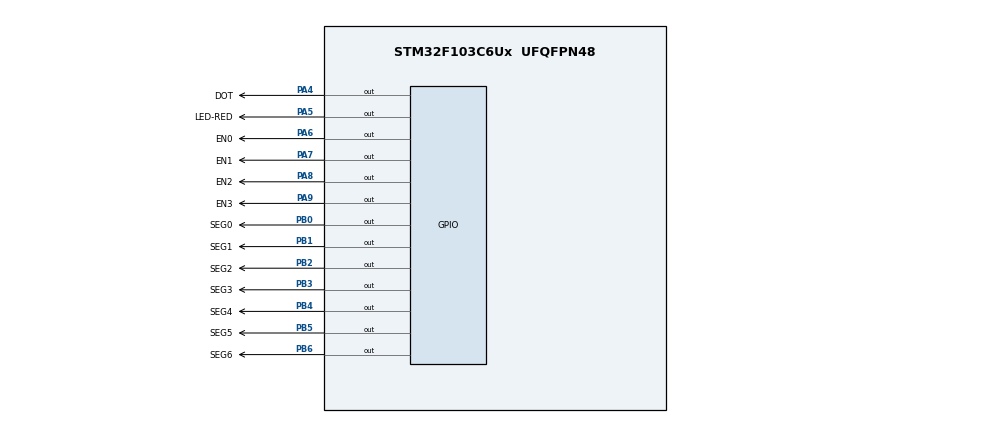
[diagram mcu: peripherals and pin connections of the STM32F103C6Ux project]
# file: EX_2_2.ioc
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Mcu.Family=STM32F1
Mcu.Name=STM32F103C6Ux
Mcu.Package=UFQFPN48
NVIC.PriorityGroup=NVIC_PRIORITYGROUP_4
NVIC.TIM2_IRQn=true\:0\:0\:false\:false\:true\:true\:true
PA4.GPIO_Label=DOT
PA4.Signal=GPIO_Output
PA5.GPIO_Label=LED-RED
PA5.Signal=GPIO_Output
PA6.GPIO_Label=EN0
PA6.Signal=GPIO_Output
PA7.GPIO_Label=EN1
PA7.Signal=GPIO_Output
PA8.GPIO_Label=EN2
PA8.Signal=GPIO_Output
PA9.GPIO_Label=EN3
PA9.Signal=GPIO_Output
PB0.GPIO_Label=SEG0
PB0.Signal=GPIO_Output
PB1.GPIO_Label=SEG1
PB1.Signal=GPIO_Output
PB2.GPIO_Label=SEG2
PB2.Signal=GPIO_Output
PB3.GPIO_Label=SEG3
PB3.Signal=GPIO_Output
PB4.GPIO_Label=SEG4
PB4.Signal=GPIO_Output
PB5.GPIO_Label=SEG5
PB5.Signal=GPIO_Output
PB6.GPIO_Label=SEG6
PB6.Signal=GPIO_Output
ProjectManager.HeapSize=0x200
ProjectManager.StackSize=0x400
ProjectManager.TargetToolchain=STM32CubeIDE
RCC.APB1Freq_Value=8000000
RCC.APB2Freq_Value=8000000
TIM2.Period=9
TIM2.Prescaler=7999
VP_SYS_VS_ND.Mode=No_Debug
VP_TIM2_VS_ClockSourceINT.Mode=Internal
board=custom

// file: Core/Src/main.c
/* USER CODE BEGIN Header */
/**
  ******************************************************************************
  * @file           : main.c
  * @brief          : Main program body
  ******************************************************************************
  * @attention
  *
  * <h2><center>&copy; Copyright (c) 2026 STMicroelectronics.
  * All rights reserved.</center></h2>
  *
  * This software component is licensed by ST under BSD 3-Clause license,
  * the "License"; You may not use this file except in compliance with the
  * License. You may obtain a copy of the License at:
  *                        opensource.org/licenses/BSD-3-Clause
  *
  ******************************************************************************
  */
/* USER CODE END Header */
#include "main.h"

/* USER CODE BEGIN PD */
#define SWITCH_TIME  50   /* 50 x 10ms = 500ms per digit                 */
#define DOT_TIME     100  /* 100 x 10ms = 1s -> DOT (and LED_RED) toggle */
/* USER CODE END PD */

TIM_HandleTypeDef htim2;

/* USER CODE BEGIN PV */
const int MAX_LED = 4;
int index_led = 0;
int led_buffer[4] = {1, 2, 3, 4};   /* change these values to unit-test update7SEG */

int seg_counter = SWITCH_TIME;
int dot_counter = DOT_TIME;
/* USER CODE END PV */

void SystemClock_Config(void);
static void MX_GPIO_Init(void);
static void MX_TIM2_Init(void);

/* USER CODE BEGIN 0 */
/* Common-anode 7-segment: a segment is ON when its pin is LOW.
   SEG0..SEG6 = a..g. Bit i of the table = segment i (1 = ON).            */
void display7SEG(int num)
{
  static const uint8_t SEG_TABLE[10] = {
    0x3F, /* 0 */ 0x06, /* 1 */ 0x5B, /* 2 */ 0x4F, /* 3 */ 0x66, /* 4 */
    0x6D, /* 5 */ 0x7D, /* 6 */ 0x07, /* 7 */ 0x7F, /* 8 */ 0x6F  /* 9 */
  };
  GPIO_TypeDef* const port[7] = {SEG0_GPIO_Port, SEG1_GPIO_Port, SEG2_GPIO_Port,
                                 SEG3_GPIO_Port, SEG4_GPIO_Port, SEG5_GPIO_Port,
                                 SEG6_GPIO_Port};
  const uint16_t pin[7] = {SEG0_Pin, SEG1_Pin, SEG2_Pin, SEG3_Pin,
                           SEG4_Pin, SEG5_Pin, SEG6_Pin};

  uint8_t code = (num >= 0 && num <= 9) ? SEG_TABLE[num] : 0x00; /* invalid -> blank */
  for (int i = 0; i < 7; i++)
  {
    HAL_GPIO_WritePin(port[i], pin[i], ((code >> i) & 1) ? GPIO_PIN_RESET : GPIO_PIN_SET);
  }
}

/* Exercise 3: show led_buffer[index] on 7-segment number 'index'.
   PNP transistors: a digit is ON when its EN pin is LOW.              */
void update7SEG(int index)
{
  /* All digits OFF first so the new number doesn't ghost on the old digit */
  HAL_GPIO_WritePin(EN0_GPIO_Port, EN0_Pin, GPIO_PIN_SET);
  HAL_GPIO_WritePin(EN1_GPIO_Port, EN1_Pin, GPIO_PIN_SET);
  HAL_GPIO_WritePin(EN2_GPIO_Port, EN2_Pin, GPIO_PIN_SET);
  HAL_GPIO_WritePin(EN3_GPIO_Port, EN3_Pin, GPIO_PIN_SET);

  switch (index)
  {
    case 0:
      /* Display the first 7SEG with led_buffer[0] */
      display7SEG(led_buffer[0]);
      HAL_GPIO_WritePin(EN0_GPIO_Port, EN0_Pin, GPIO_PIN_RESET);
      break;
    case 1:
      /* Display the second 7SEG with led_buffer[1] */
      display7SEG(led_buffer[1]);
      HAL_GPIO_WritePin(EN1_GPIO_Port, EN1_Pin, GPIO_PIN_RESET);
      break;
    case 2:
      /* Display the third 7SEG with led_buffer[2] */
      display7SEG(led_buffer[2]);
      HAL_GPIO_WritePin(EN2_GPIO_Port, EN2_Pin, GPIO_PIN_RESET);
      break;
    case 3:
      /* Display the fourth 7SEG with led_buffer[3] */
      display7SEG(led_buffer[3]);
      HAL_GPIO_WritePin(EN3_GPIO_Port, EN3_Pin, GPIO_PIN_RESET);
      break;
    default:
      break;
  }
}
/* USER CODE END 0 */

int main(void)
{

  /* MCU Configuration--------------------------------------------------------*/

  /* Reset of all peripherals, Initializes the Flash interface and the Systick. */
  HAL_Init();

  /* Configure the system clock */
  SystemClock_Config();

  /* Initialize all configured peripherals */
  MX_GPIO_Init();
  MX_TIM2_Init();
  /* USER CODE BEGIN 2 */
  /* Start with DOT and LED_RED off (HIGH = off) */
  HAL_GPIO_WritePin(DOT_GPIO_Port, DOT_Pin, GPIO_PIN_SET);
  HAL_GPIO_WritePin(LED_RED_GPIO_Port, LED_RED_Pin, GPIO_PIN_SET);

  /* Show the first digit right away, then the timer takes over */
  update7SEG(index_led++);

  HAL_TIM_Base_Start_IT(&htim2);
  /* USER CODE END 2 */

  /* Infinite loop */
  /* USER CODE BEGIN WHILE */
  while (1)
  {
    /* Exercise 3: everything runs in the timer interrupt */
    /* USER CODE END WHILE */

  }
}

void SystemClock_Config(void)
{
  RCC_OscInitTypeDef RCC_OscInitStruct = {0};
  RCC_ClkInitTypeDef RCC_ClkInitStruct = {0};

  /** Initializes the RCC Oscillators according to the specified parameters
  * in the RCC_OscInitTypeDef structure.
  */
  RCC_OscInitStruct.OscillatorType = RCC_OSCILLATORTYPE_HSI;
  RCC_OscInitStruct.HSIState = RCC_HSI_ON;
  RCC_OscInitStruct.HSICalibrationValue = RCC_HSICALIBRATION_DEFAULT;
  RCC_OscInitStruct.PLL.PLLState = RCC_PLL_NONE;
  if (HAL_RCC_OscConfig(&RCC_OscInitStruct) != HAL_OK)
  {
    Error_Handler();
  }
  /** Initializes the CPU, AHB and APB buses clocks
  */
  RCC_ClkInitStruct.ClockType = RCC_CLOCKTYPE_HCLK|RCC_CLOCKTYPE_SYSCLK
                              |RCC_CLOCKTYPE_PCLK1|RCC_CLOCKTYPE_PCLK2;
  RCC_ClkInitStruct.SYSCLKSource = RCC_SYSCLKSOURCE_HSI;
  RCC_ClkInitStruct.AHBCLKDivider = RCC_SYSCLK_DIV1;
  RCC_ClkInitStruct.APB1CLKDivider = RCC_HCLK_DIV1;
  RCC_ClkInitStruct.APB2CLKDivider = RCC_HCLK_DIV1;

  if (HAL_RCC_ClockConfig(&RCC_ClkInitStruct, FLASH_LATENCY_0) != HAL_OK)
  {
    Error_Handler();
  }
}

static void MX_TIM2_Init(void)
{

  TIM_ClockConfigTypeDef sClockSourceConfig = {0};
  TIM_MasterConfigTypeDef sMasterConfig = {0};

  htim2.Instance = TIM2;
  htim2.Init.Prescaler = 7999;
  htim2.Init.CounterMode = TIM_COUNTERMODE_UP;
  htim2.Init.Period = 9;
  htim2.Init.ClockDivision = TIM_CLOCKDIVISION_DIV1;
  htim2.Init.AutoReloadPreload = TIM_AUTORELOAD_PRELOAD_DISABLE;
  if (HAL_TIM_Base_Init(&htim2) != HAL_OK)
  {
    Error_Handler();
  }
  sClockSourceConfig.ClockSource = TIM_CLOCKSOURCE_INTERNAL;
  if (HAL_TIM_ConfigClockSource(&htim2, &sClockSourceConfig) != HAL_OK)
  {
    Error_Handler();
  }
  sMasterConfig.MasterOutputTrigger = TIM_TRGO_RESET;
  sMasterConfig.MasterSlaveMode = TIM_MASTERSLAVEMODE_DISABLE;
  if (HAL_TIMEx_MasterConfigSynchronization(&htim2, &sMasterConfig) != HAL_OK)
  {
    Error_Handler();
  }

}

static void MX_GPIO_Init(void)
{
  GPIO_InitTypeDef GPIO_InitStruct = {0};

  /* GPIO Ports Clock Enable */
  __HAL_RCC_GPIOA_CLK_ENABLE();
  __HAL_RCC_GPIOB_CLK_ENABLE();

  /*Configure GPIO pin Output Level */
  HAL_GPIO_WritePin(GPIOA, DOT_Pin|LED_RED_Pin|EN0_Pin|EN1_Pin
                          |EN2_Pin|EN3_Pin, GPIO_PIN_RESET);

  /*Configure GPIO pin Output Level */
  HAL_GPIO_WritePin(GPIOB, SEG0_Pin|SEG1_Pin|SEG2_Pin|SEG3_Pin
                          |SEG4_Pin|SEG5_Pin|SEG6_Pin, GPIO_PIN_RESET);

  /*Configure GPIO pins : DOT_Pin LED_RED_Pin EN0_Pin EN1_Pin
                           EN2_Pin EN3_Pin */
  GPIO_InitStruct.Pin = DOT_Pin|LED_RED_Pin|EN0_Pin|EN1_Pin
                          |EN2_Pin|EN3_Pin;
  GPIO_InitStruct.Mode = GPIO_MODE_OUTPUT_PP;
  GPIO_InitStruct.Pull = GPIO_NOPULL;
  GPIO_InitStruct.Speed = GPIO_SPEED_FREQ_LOW;
  HAL_GPIO_Init(GPIOA, &GPIO_InitStruct);

  /*Configure GPIO pins : SEG0_Pin SEG1_Pin SEG2_Pin SEG3_Pin
                           SEG4_Pin SEG5_Pin SEG6_Pin */
  GPIO_InitStruct.Pin = SEG0_Pin|SEG1_Pin|SEG2_Pin|SEG3_Pin
                          |SEG4_Pin|SEG5_Pin|SEG6_Pin;
  GPIO_InitStruct.Mode = GPIO_MODE_OUTPUT_PP;
  GPIO_InitStruct.Pull = GPIO_NOPULL;
  GPIO_InitStruct.Speed = GPIO_SPEED_FREQ_LOW;
  HAL_GPIO_Init(GPIOB, &GPIO_InitStruct);

}

/* USER CODE BEGIN 4 */
/* Exercise 3: called every 10ms by TIM2 */
void HAL_TIM_PeriodElapsedCallback(TIM_HandleTypeDef *htim)
{
  if (htim->Instance != TIM2) return;

  /* Switch to the next digit every 500ms */
  seg_counter--;
  if (seg_counter <= 0)
  {
    seg_counter = SWITCH_TIME;
    if (index_led >= MAX_LED) index_led = 0;   /* keep index_led in 0..3 */
    update7SEG(index_led++);
  }

  /* Blink the two DOT LEDs (and LED_RED) every second */
  dot_counter--;
  if (dot_counter <= 0)
  {
    dot_counter = DOT_TIME;
    HAL_GPIO_TogglePin(DOT_GPIO_Port, DOT_Pin);
    HAL_GPIO_TogglePin(LED_RED_GPIO_Port, LED_RED_Pin);
  }
}
/* USER CODE END 4 */

void Error_Handler(void)
{
  __disable_irq();
  while (1)
  {
  }
}

/************************ (C) COPYRIGHT STMicroelectronics *****END OF FILE****/
